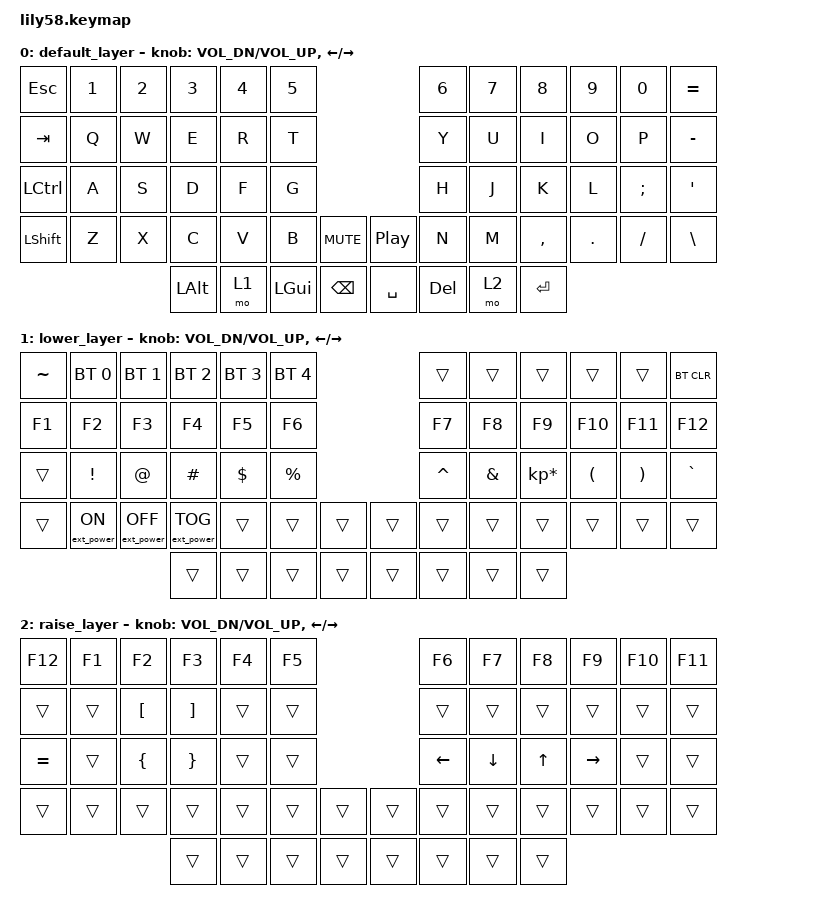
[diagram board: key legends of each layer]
/*
 * Copyright (c) 2020 The ZMK Contributors
 *
 * SPDX-License-Identifier: MIT
 */

#include <behaviors.dtsi>
#include <dt-bindings/zmk/keys.h>
#include <dt-bindings/zmk/bt.h>
#include <dt-bindings/zmk/ext_power.h>

&nice_view_spi {
    cs-gpios = <&gpio0 22 GPIO_ACTIVE_HIGH>; /* D4 - CS */
};
&sensors {
    sensors = <&left_encoder &right_encoder>;
};

/ {
    keymap {
        compatible = "zmk,keymap";

        default_layer {
// ------------------------------------------------------------------------------------------------------------
// |  ESC  |  1  |  2  |  3   |  4   |  5   |                   |  6   |  7    |  8    |  9   |   0   |  +=   |
// |  TAB  |  Q  |  W  |  E   |  R   |  T   |                   |  Y   |  U    |  I    |  O   |   P   |  -_   |
// |  CTRL |  A  |  S  |  D   |  F   |  G   |                   |  H   |  J    |  K    |  L   |  :;   |  "'   |
// | SHIFT |  Z  |  X  |  C   |  V   |  B   |  ROTL  |  | ROTR  |  N   |  M    |  <,   |  >.  |  ?/   |  |\   |
//                     | ALT| LOWER|  GUI |  BSPC |  | SPACE | DEL| RAISE | ENTER  |
            bindings = <
&kp ESC   &kp N1 &kp N2 &kp N3    &kp N4   &kp N5                         &kp N6   &kp N7  &kp N8    &kp N9  &kp N0   &kp EQUAL
&kp TAB   &kp Q  &kp W  &kp E     &kp R    &kp T                          &kp Y    &kp U   &kp I     &kp O   &kp P    &kp MINUS
&kp LCTRL &kp A  &kp S  &kp D     &kp F    &kp G                          &kp H    &kp J   &kp K     &kp L   &kp SEMI &kp SQT
&kp LSHFT  &kp Z  &kp X  &kp C     &kp V    &kp B    &kp C_MUTE &kp C_PP   &kp N    &kp M   &kp COMMA &kp DOT &kp FSLH &kp BSLH
                        &kp LALT &mo 1   &kp LGUI  &kp BSPC  &kp SPACE  &kp DEL  &mo 2   &kp RET
            >;

            sensor-bindings = <&inc_dec_kp C_VOL_DN C_VOL_UP &inc_dec_kp LEFT RIGHT>;
        };

        lower_layer {
// ------------------------------------------------------------------------------------------------------------
// |   ~   | BT1 | BT2 |  BT3 |  BT4 |  BT5 |                   |      |       |       |      |       | BTCLR |
// |  F1   |  F2 |  F3 |  F4  |  F5  |  F6  |                   |  F7  |  F8   |  F9   |  F10 |  F11  |  F12  |
// |       |  !  |  @  |  #   |  $   |  %   |                   |  ^   |  &    |  *    |  (   |   )   |   `   |
// |       | EPON| EPOF| EPTG |      |      |        |  |       |      |       |       |      |       |       |
//                     |      |      |      |        |  |       |      |       |       |
            bindings = <
&kp TILDE &bt BT_SEL 0     &bt BT_SEL 1      &bt BT_SEL 2      &bt BT_SEL 3 &bt BT_SEL 4                 &trans    &trans   &trans          &trans   &trans   &bt BT_CLR
&kp F1    &kp F2           &kp F3            &kp F4            &kp F5       &kp F6                       &kp F7    &kp F8   &kp F9          &kp F10  &kp F11  &kp F12
&trans    &kp EXCL         &kp AT            &kp HASH          &kp DOLLAR   &kp PRCNT                    &kp CARET &kp AMPS &kp KP_MULTIPLY &kp LPAR &kp RPAR &kp GRAVE
&trans    &ext_power EP_ON &ext_power EP_OFF &ext_power EP_TOG &trans       &trans    &trans   &trans    &trans    &trans   &trans          &trans   &trans   &trans
                                             &trans            &trans       &trans    &trans   &trans    &trans    &trans   &trans
            >;

            sensor-bindings = <&inc_dec_kp C_VOL_DN C_VOL_UP &inc_dec_kp LEFT RIGHT>;
        };

        raise_layer {
// ------------------------------------------------------------------------------------------------------------
// |  F12  |  F1 |  F2 |  F3  |  F4  |  F5  |                   |  F6  |  F7   |  F8   |  F9  |  F10  |  F11  |
// |       |     |  [  |  ]   |      |      |                   |      |       |       |      |       |       |
// |   =   |     |  {  |  }   |      |      |                   | LEFT | DOWN  |  UP   | RIGHT|       |       |
// |       |     |     |      |      |      |        |  |       |      |       |       |      |       |       |
//                     |      |      |      |        |  |       |      |       |       |
            bindings = <
&kp F12   &kp F1 &kp F2   &kp F3   &kp F4 &kp F5                     &kp F6   &kp F7   &kp F8 &kp F9    &kp F10 &kp F11
&trans    &trans &kp LBKT &kp RBKT &trans &trans                     &trans   &trans   &trans &trans    &trans  &trans
&kp EQUAL &trans &kp LBRC &kp RBRC &trans &trans                     &kp LEFT &kp DOWN &kp UP &kp RIGHT &trans  &trans
&trans    &trans &trans   &trans   &trans &trans   &trans   &trans   &trans   &trans   &trans &trans    &trans  &trans
                          &trans   &trans &trans   &trans   &trans   &trans   &trans   &trans
            >;

            sensor-bindings = <&inc_dec_kp C_VOL_DN C_VOL_UP &inc_dec_kp LEFT RIGHT>;
        };
    };
};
